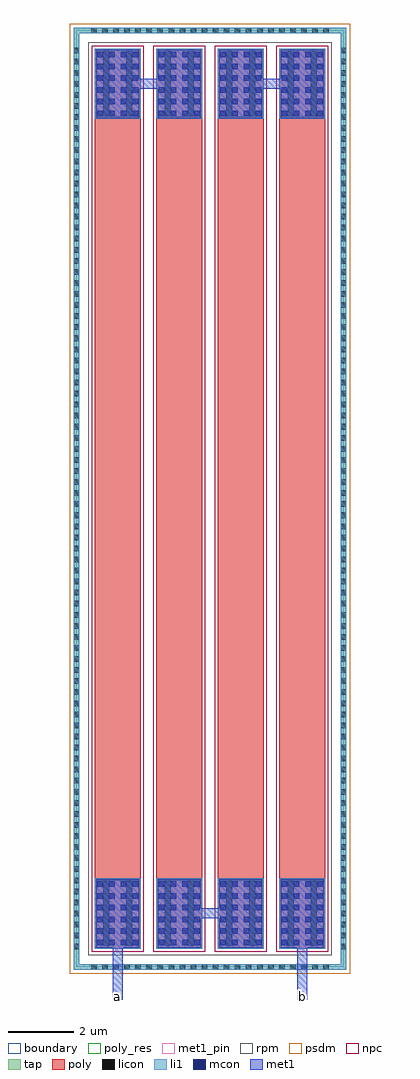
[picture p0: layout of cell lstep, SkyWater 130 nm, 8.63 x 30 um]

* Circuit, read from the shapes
.subckt lstep a b
XR1 sky130_fd_pr__res_high_po_1p41_7GBJFU_0/R1_0 a sky130_fd_pr__res_high_po_1p41_7GBJFU_0/B sky130_fd_pr__res_high_po w=1.41 l=23.38
XR2 sky130_fd_pr__res_high_po_1p41_7GBJFU_0/R1_0 sky130_fd_pr__res_high_po_1p41_7GBJFU_0/R2_1 sky130_fd_pr__res_high_po_1p41_7GBJFU_0/B sky130_fd_pr__res_high_po w=1.41 l=23.38
XR3 sky130_fd_pr__res_high_po_1p41_7GBJFU_0/R1_2 sky130_fd_pr__res_high_po_1p41_7GBJFU_0/R2_1 sky130_fd_pr__res_high_po_1p41_7GBJFU_0/B sky130_fd_pr__res_high_po w=1.41 l=23.38
XR4 sky130_fd_pr__res_high_po_1p41_7GBJFU_0/R1_2 b sky130_fd_pr__res_high_po_1p41_7GBJFU_0/B sky130_fd_pr__res_high_po w=1.41 l=23.38
.ends

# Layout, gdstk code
import gdstk
lib = gdstk.Library(unit=1e-6, precision=1e-09)
def R(c, l, rs):  # rectangles x0, y0, x1, y1
    for r in rs: c.add(gdstk.rectangle(r[:2], r[2:], *l))
def A(c, l, x, y, w, h, nx, ny, dx, dy):  # array of equal rectangles
    R(c, l, [(x+i*dx, y+j*dy, x+i*dx+w, y+j*dy+h) for i in range(nx) for j in range(ny)])
tap = (65, 44)
poly_res = (66, 13)
poly = (66, 20)
licon = (66, 44)
li1 = (67, 20)
mcon = (67, 44)
met1_pin = (68, 16)
met1 = (68, 20)
rpm = (86, 20)
psdm = (94, 20)
npc = (95, 20)
boundary = (235, 4)

sky130_fd_pr__res_high_p = lib.new_cell('sky130_fd_pr__res_high_po_1p41_7GBJFU')
R(sky130_fd_pr__res_high_p, tap, [(-4.19,-14.48,4.19,-14.31), (-4.19,-14.31,-4.02,14.31), (4.02,-14.31,4.19,14.31), (-4.19,14.31,4.19,14.48)])
A(sky130_fd_pr__res_high_p, poly_res, -3.54, -11.75, 1.41, 23.5, 4, 1, 1.89, 0)
A(sky130_fd_pr__res_high_p, poly, -3.54, -13.83, 1.41, 27.66, 4, 1, 1.89, 0)
A(sky130_fd_pr__res_high_p, licon, -3.655, -14.48, 0.17, 0.17, 22, 2, 0.34, 28.79)
A(sky130_fd_pr__res_high_p, licon, -4.19, -13.855, 0.17, 0.17, 1, 82, 0, 0.34)
A(sky130_fd_pr__res_high_p, licon, 4.02, -13.855, 0.17, 0.17, 1, 82, 0, 0.34)
R(sky130_fd_pr__res_high_p, licon, [(-3.285,-13.75,-3.095,-11.75), (-2.575,-13.75,-2.385,-11.75), (-1.395,-13.75,-1.205,-11.75), (-0.685,-13.75,-0.495,-11.75), (0.495,-13.75,0.685,-11.75), (1.205,-13.75,1.395,-11.75), (2.385,-13.75,2.575,-11.75), (3.095,-13.75,3.285,-11.75), (-3.285,11.75,-3.095,13.75), (-2.575,11.75,-2.385,13.75), (-1.395,11.75,-1.205,13.75), (-0.685,11.75,-0.495,13.75), (0.495,11.75,0.685,13.75), (1.205,11.75,1.395,13.75), (2.385,11.75,2.575,13.75), (3.095,11.75,3.285,13.75)])
A(sky130_fd_pr__res_high_p, li1, -3.54, -13.83, 1.41, 2.16, 4, 2, 1.89, 25.5)
R(sky130_fd_pr__res_high_p, li1, [(-4.19,-14.48,4.19,-14.31), (-4.19,-14.31,-4.02,14.31), (4.02,-14.31,4.19,14.31), (-4.19,14.31,4.19,14.48)])
A(sky130_fd_pr__res_high_p, mcon, -3.46, -13.735, 0.17, 0.17, 4, 6, 0.36, 0.36)
A(sky130_fd_pr__res_high_p, mcon, -1.57, -13.735, 0.17, 0.17, 4, 6, 0.36, 0.36)
A(sky130_fd_pr__res_high_p, mcon, 0.32, -13.735, 0.17, 0.17, 4, 6, 0.36, 0.36)
A(sky130_fd_pr__res_high_p, mcon, 2.21, -13.735, 0.17, 0.17, 4, 6, 0.36, 0.36)
A(sky130_fd_pr__res_high_p, mcon, -3.46, 11.76, 0.17, 0.17, 4, 6, 0.36, 0.36)
A(sky130_fd_pr__res_high_p, mcon, -1.57, 11.76, 0.17, 0.17, 4, 6, 0.36, 0.36)
A(sky130_fd_pr__res_high_p, mcon, 0.32, 11.76, 0.17, 0.17, 4, 6, 0.36, 0.36)
A(sky130_fd_pr__res_high_p, mcon, 2.21, 11.76, 0.17, 0.17, 4, 6, 0.36, 0.36)
A(sky130_fd_pr__res_high_p, met1, -3.49, -13.8, 1.31, 2.105, 4, 2, 1.89, 25.495)
R(sky130_fd_pr__res_high_p, rpm, [(-3.74,-14.03,3.74,14.03)])
R(sky130_fd_pr__res_high_p, psdm, [(-4.315,-14.605,4.315,14.605)])
A(sky130_fd_pr__res_high_p, npc, -3.635, -13.925, 1.6, 27.85, 4, 1, 1.89, 0)
R(sky130_fd_pr__res_high_p, boundary, [(-4.105,-14.395,4.105,14.395)])
sky130_fd_pr__res_high_p.add(gdstk.Label('B', (0,-14.395), layer=67, texttype=5))
sky130_fd_pr__res_high_p.add(gdstk.Label('R1_0', (-2.835,13.655), layer=67, texttype=5))
sky130_fd_pr__res_high_p.add(gdstk.Label('R2_0', (-2.835,-13.655), layer=67, texttype=5))
sky130_fd_pr__res_high_p.add(gdstk.Label('R1_1', (-0.945,13.655), layer=67, texttype=5))
sky130_fd_pr__res_high_p.add(gdstk.Label('R2_1', (-0.945,-13.655), layer=67, texttype=5))
sky130_fd_pr__res_high_p.add(gdstk.Label('R1_2', (0.945,13.655), layer=67, texttype=5))
sky130_fd_pr__res_high_p.add(gdstk.Label('R2_2', (0.945,-13.655), layer=67, texttype=5))
sky130_fd_pr__res_high_p.add(gdstk.Label('R1_3', (2.835,13.655), layer=67, texttype=5))
sky130_fd_pr__res_high_p.add(gdstk.Label('R2_3', (2.835,-13.655), layer=67, texttype=5))

lstep = lib.new_cell('lstep')
R(lstep, met1_pin, [(1.22,-0.95,1.32,-0.85), (6.89,-0.95,6.99,-0.85)])
R(lstep, met1, [(1.12,-1,1.42,0.8), (6.79,-1,7.09,0.8), (2.505,1.5,5.705,1.8), (0.615,27,3.815,27.3), (4.395,27,7.595,27.3)])
lstep.add(gdstk.Reference(sky130_fd_pr__res_high_p, (4.105,14.395)))
lstep.add(gdstk.Label('a', (1.27,-0.9), layer=68, texttype=5))
lstep.add(gdstk.Label('b', (6.94,-0.9), layer=68, texttype=5))

lib.write_gds('lstep.gds')
